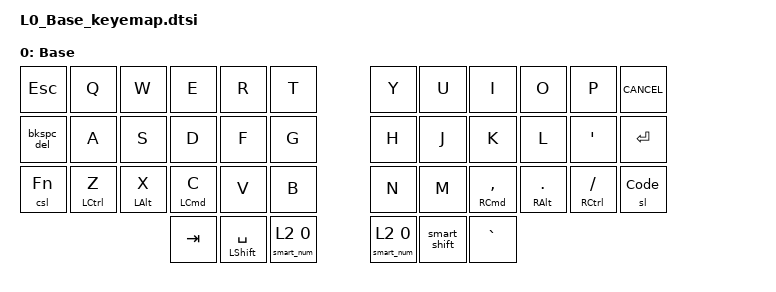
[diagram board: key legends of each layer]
/**
 * Alpha Layer - QWERTY
 */

/ {
  keymap {
    compatible = "zmk,keymap";

    layer_0 {
      label = "Base";
      bindings = <
// ╭───────────────┬───────────────┬───────────────┬───────────────┬───────────────┬───────────────╮   ╭───────────────┬───────────────┬───────────────┬───────────────┬───────────────┬───────────────╮
//  0               1               2               3               4               5                   6               7               8               9               10              11
    &kp ESC         &kp Q           &kp W           &kp E           &kp R           &kp T               &kp Y           &kp U           &kp I           &kp O           &kp P           &kp K_CANCEL
// ├───────────────├───────────────┼───────────────┼───────────────┼───────────────┼───────────────┤   ├───────────────├───────────────┼───────────────┼───────────────┼───────────────┼───────────────┤
//  12              13              14              15              16              17                  18              19              20              21              22              23
    &bkspc_del      &kp A           &kp S           &kp D           &kp F           &kp G               &kp H           &kp J           &kp K           &kp L           &kp SQT         &kp ENTER
// ├───────────────├───────────────┼───────────────┼───────────────┼───────────────┼───────────────┤   ├───────────────├───────────────┼───────────────┼───────────────┼───────────────┼───────────────┤
//  24              25              26              27              28              29                  30              31              32              33              34              35
   &csl Fn        &mt LCTRL Z     &mt LALT X      &mt LCMD C       &kp V          &kp B               &kp N           &kp M           &mt RCMD COMMA  &mt RALT DOT    &mt RCTRL SLASH  &sl Code
// ╰───────────────┴───────────────┴───────────────┼───────────────┼───────────────┼───────────────┤   ├───────────────├───────────────┼───────────────┼───────────────┴───────────────┴───────────────╯
//                                                  36              37              38                  39              40              41
                                                   &kp TAB         &mt LSHFT SPACE &smart_num L2 0     &smart_num L2 0 &smart_shift    &kp GRAVE
//                                                 ╰───────────────┴───────────────┴───────────────╯   ╰───────────────┴───────────────┴───────────────╯
      >;
    };
  };
};
